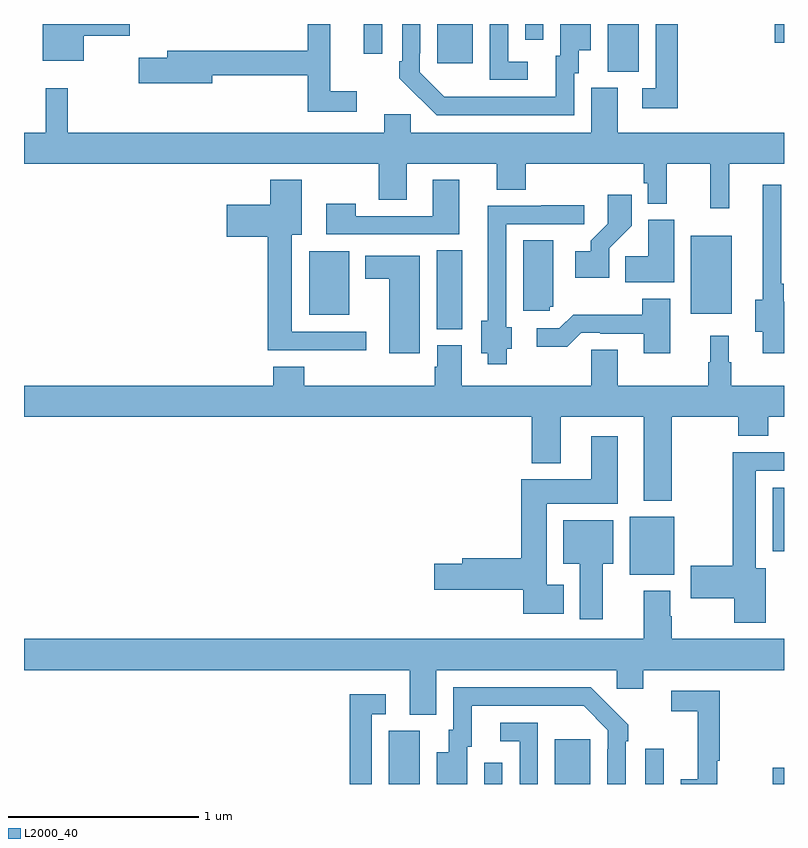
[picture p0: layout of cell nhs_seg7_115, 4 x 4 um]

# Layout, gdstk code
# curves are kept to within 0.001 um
import gdstk
lib = gdstk.Library(unit=1e-6, precision=1e-09)
def R(c, l, rs):  # rectangles x0, y0, x1, y1
    for r in rs: c.add(gdstk.rectangle(r[:2], r[2:], *l))
def P(c, l, *ps):  # polygons
    for p in ps: c.add(gdstk.Polygon(p, *l))
L2000_40 = (2000, 40)

nhs_seg7_115 = lib.new_cell('nhs_seg7_115')
R(nhs_seg7_115, L2000_40, [(120.92,1016,121.084,1016.28), (121.422,1016,121.518,1016.113), (121.793,1016,121.981,1016.236), (122.271,1016,122.367,1016.185), (122.942,1016,123,1016.086), (122.189,1017.101,122.422,1017.406), (122.942,1017.224,123,1017.559), (121.172,1018.393,121.306,1018.808), (120.5,1018.469,120.712,1018.804), (122.51,1018.475,122.725,1018.885), (122.072,1019.749,122.236,1020), (121.175,1019.793,121.363,1020), (120.789,1019.844,120.885,1020), (122.952,1019.902,123,1020), (121.638,1019.916,121.734,1020)])
P(nhs_seg7_115, L2000_40, [(121.651,1019.802),(121.548,1019.802),(121.548,1020),(121.452,1020),(121.452,1019.706),(121.651,1019.706)],
  [(120.751,1019.647),(120.611,1019.647),(120.611,1020),(120.493,1020),(120.493,1019.858),(119.753,1019.858),(119.753,1019.822),(119.604,1019.822),(119.604,1019.687),(119.992,1019.687),(119.992,1019.73),(120.493,1019.73),(120.493,1019.538),(120.751,1019.538)],
  [(121.896,1019.742),(121.921,1019.742),(121.921,1019.861),(121.984,1019.861),(121.984,1020),(121.823,1020),(121.823,1019.832),(121.799,1019.832),(121.799,1019.616),(121.212,1019.617),(121.083,1019.745),(121.083,1019.845),(121.086,1019.845),(121.086,1020),(120.99,1020),(120.99,1019.803),(120.975,1019.803),(120.975,1019.715),(121.172,1019.52),(121.896,1019.52)],
  [(119.314,1019.939),(119.557,1019.939),(119.557,1020),(119.099,1020),(119.099,1019.807),(119.314,1019.807)],
  [(122.441,1020),(122.325,1020),(122.325,1019.661),(122.253,1019.661),(122.253,1019.556),(122.441,1019.556)],
  [(122.711,1019.264),(123,1019.264),(123,1019.428),(122.125,1019.428),(122.125,1019.664),(121.985,1019.664),(121.985,1019.428),(121.035,1019.428),(121.035,1019.526),(120.896,1019.526),(120.896,1019.428),(119.231,1019.428),(119.231,1019.662),(119.114,1019.662),(119.114,1019.428),(119,1019.428),(119,1019.264),(120.868,1019.264),(120.868,1019.074),(121.015,1019.074),(121.015,1019.264),(121.487,1019.264),(121.487,1019.128),(121.64,1019.128),(121.64,1019.264),(122.263,1019.264),(122.263,1019.163),(122.283,1019.163),(122.283,1019.054),(122.382,1019.054),(122.382,1019.264),(122.611,1019.264),(122.611,1019.031),(122.711,1019.031)],
  [(120.802,1018.38),(120.409,1018.38),(120.409,1018.892),(120.463,1018.892),(120.463,1019.179),(120.296,1019.179),(120.296,1019.05),(120.066,1019.05),(120.066,1018.88),(120.284,1018.88),(120.284,1018.283),(120.802,1018.283)],
  [(121.291,1019.179),(121.151,1019.179),(121.151,1018.989),(120.747,1018.989),(120.747,1019.053),(120.591,1019.053),(120.591,1018.893),(121.291,1018.893)],
  [(123,1018.537),(122.998,1018.537),(122.998,1018.633),(122.985,1018.633),(122.985,1019.155),(122.888,1019.155),(122.888,1018.55),(122.849,1018.55),(122.849,1018.379),(122.888,1018.379),(122.888,1018.268),(123,1018.268)],
  [(122.079,1018.819),(122.198,1018.938),(122.198,1019.101),(122.073,1019.101),(122.073,1018.949),(121.982,1018.859),(121.982,1018.804),(121.902,1018.804),(121.902,1018.664),(122.079,1018.664)],
  [(121.54,1018.29),(121.567,1018.29),(121.567,1018.404),(121.539,1018.404),(121.539,1018.947),(121.948,1018.947),(121.948,1019.046),(121.723,1019.046),(121.723,1019.043),(121.442,1019.043),(121.442,1018.439),(121.406,1018.439),(121.406,1018.268),(121.442,1018.268),(121.442,1018.208),(121.54,1018.208)],
  [(122.422,1018.969),(122.285,1018.969),(122.285,1018.778),(122.164,1018.778),(122.164,1018.64),(122.422,1018.64)],
  [(121.767,1018.512),(121.786,1018.512),(121.786,1018.861),(121.628,1018.861),(121.628,1018.491),(121.767,1018.491)],
  [(121.084,1018.78),(120.797,1018.78),(120.797,1018.658),(120.923,1018.658),(120.923,1018.268),(121.084,1018.268)],
  [(122.401,1018.555),(122.254,1018.555),(122.254,1018.471),(121.891,1018.471),(121.818,1018.398),(121.698,1018.398),(121.698,1018.301),(121.859,1018.301),(121.932,1018.374),(122.032,1018.374),(122.032,1018.371),(122.261,1018.371),(122.261,1018.266),(122.401,1018.266)],
  [(122.409,1017.932),(122.758,1017.932),(122.758,1017.833),(122.918,1017.833),(122.918,1017.932),(123,1017.932),(123,1018.096),(122.722,1018.096),(122.722,1018.22),(122.71,1018.22),(122.71,1018.36),(122.612,1018.36),(122.612,1018.22),(122.601,1018.22),(122.601,1018.096),(122.125,1018.096),(122.125,1018.286),(121.986,1018.286),(121.986,1018.096),(121.303,1018.096),(121.303,1018.308),(121.175,1018.308),(121.175,1018.197),(121.163,1018.197),(121.163,1018.096),(120.476,1018.096),(120.476,1018.195),(120.311,1018.195),(120.311,1018.096),(119,1018.096),(119,1017.932),(121.673,1017.932),(121.673,1017.689),(121.825,1017.689),(121.825,1017.932),(122.261,1017.932),(122.261,1017.491),(122.409,1017.491)],
  [(121.84,1017.049),(121.75,1017.049),(121.75,1017.476),(122.125,1017.476),(122.125,1017.829),(121.985,1017.829),(121.985,1017.604),(121.616,1017.604),(121.616,1017.188),(121.307,1017.188),(121.307,1017.158),(121.158,1017.158),(121.158,1017.023),(121.628,1017.023),(121.628,1016.897),(121.84,1016.897)],
  [(122.905,1017.136),(122.851,1017.136),(122.851,1017.648),(123,1017.648),(123,1017.746),(122.731,1017.746),(122.731,1017.149),(122.508,1017.149),(122.508,1016.978),(122.738,1016.978),(122.738,1016.85),(122.905,1016.85)],
  [(122.047,1017.158),(122.101,1017.158),(122.101,1017.388),(121.838,1017.388),(121.838,1017.158),(121.925,1017.158),(121.925,1016.868),(122.047,1016.868)],
  [(121.171,1016.6),(122.121,1016.6),(122.121,1016.502),(122.26,1016.502),(122.26,1016.6),(123,1016.6),(123,1016.764),(122.409,1016.764),(122.409,1016.882),(122.401,1016.882),(122.401,1017.016),(122.261,1017.016),(122.261,1016.764),(119,1016.764),(119,1016.6),(121.031,1016.6),(121.031,1016.365),(121.171,1016.365)],
  [(121.333,1016.196),(121.357,1016.196),(121.357,1016.412),(121.945,1016.412),(122.073,1016.283),(122.073,1016.183),(122.07,1016.183),(122.07,1016),(122.166,1016),(122.166,1016.225),(122.181,1016.225),(122.181,1016.313),(121.984,1016.508),(121.26,1016.508),(121.26,1016.286),(121.235,1016.286),(121.235,1016.167),(121.172,1016.167),(121.172,1016),(121.333,1016)],
  [(122.648,1016.122),(122.663,1016.122),(122.663,1016.49),(122.406,1016.49),(122.406,1016.382),(122.546,1016.382),(122.546,1016.026),(122.456,1016.026),(122.456,1016),(122.648,1016)],
  [(120.831,1016.367),(120.904,1016.367),(120.904,1016.473),(120.715,1016.473),(120.715,1016),(120.831,1016)],
  [(121.704,1016.322),(121.506,1016.322),(121.506,1016.226),(121.608,1016.226),(121.608,1016),(121.704,1016)])

lib.write_gds('nhs_seg7_115.gds')
